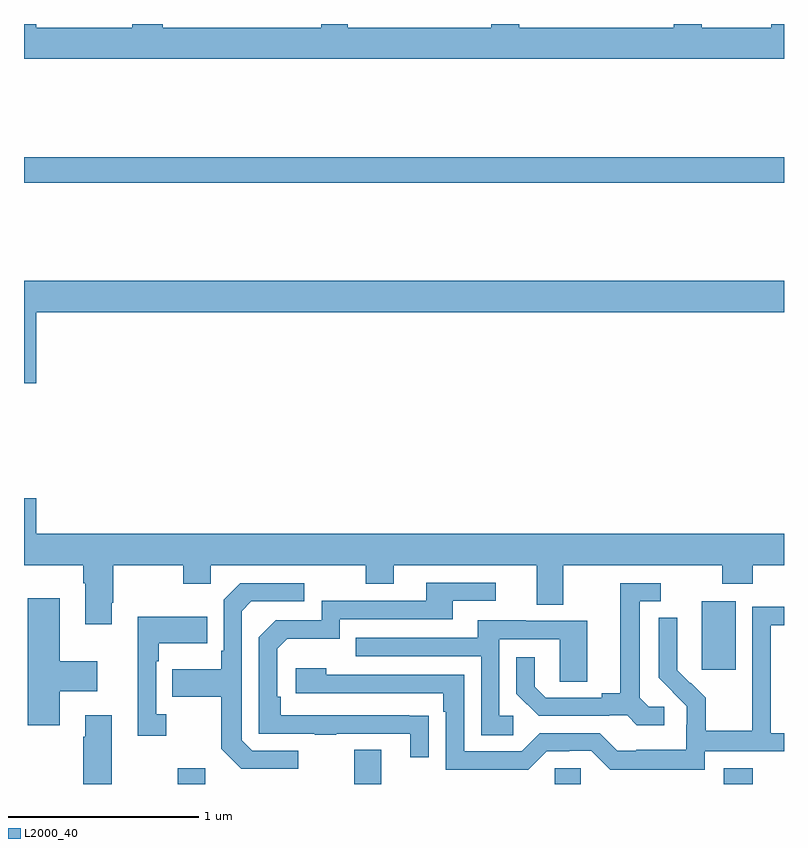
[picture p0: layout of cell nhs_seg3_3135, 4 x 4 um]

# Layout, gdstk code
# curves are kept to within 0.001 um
import gdstk
lib = gdstk.Library(unit=1e-6, precision=1e-09)
def R(c, l, rs):  # rectangles x0, y0, x1, y1
    for r in rs: c.add(gdstk.rectangle(r[:2], r[2:], *l))
def P(c, l, *ps):  # polygons
    for p in ps: c.add(gdstk.Polygon(p, *l))
L2000_40 = (2000, 40)

nhs_seg3_3135 = lib.new_cell('nhs_seg3_3135')
R(nhs_seg3_3135, L2000_40, [(273.808,730.4,273.955,730.483), (274.739,730.4,274.879,730.579), (275.793,730.4,275.931,730.482), (276.683,730.4,276.836,730.483), (276.566,731.001,276.745,731.362), (273,733.564,277,733.7)])
P(nhs_seg3_3135, L2000_40, [(277,734.4),(276.934,734.4),(276.934,734.38),(276.567,734.38),(276.567,734.4),(276.42,734.4),(276.42,734.38),(275.607,734.38),(275.607,734.4),(275.459,734.4),(275.459,734.38),(274.705,734.38),(274.705,734.4),(274.565,734.4),(274.565,734.38),(273.729,734.38),(273.729,734.4),(273.569,734.4),(273.569,734.38),(273.064,734.38),(273.064,734.4),(273,734.4),(273,734.216),(277,734.216)],
  [(273.064,732.884),(277,732.884),(277,733.048),(273,733.048),(273,732.51),(273.064,732.51)],
  [(273,731.905),(273,731.552),(273.311,731.552),(273.311,731.456),(273.323,731.456),(273.323,731.241),(273.463,731.241),(273.463,731.353),(273.471,731.353),(273.471,731.552),(273.838,731.552),(273.838,731.453),(273.984,731.453),(273.984,731.552),(274.798,731.552),(274.798,731.453),(274.945,731.453),(274.945,731.552),(275.699,731.552),(275.699,731.344),(275.839,731.344),(275.839,731.552),(276.676,731.552),(276.676,731.453),(276.836,731.453),(276.836,731.552),(277,731.552),(277,731.716),(273.064,731.716),(273.064,731.905)],
  [(275.129,730.76),(274.352,730.761),(274.352,730.858),(274.332,730.858),(274.332,731.112),(274.385,731.165),(274.662,731.165),(274.662,731.268),(275.257,731.268),(275.257,731.364),(275.482,731.364),(275.482,731.46),(275.117,731.46),(275.117,731.364),(274.566,731.364),(274.566,731.262),(274.326,731.262),(274.236,731.172),(274.236,730.665),(274.531,730.665),(274.531,730.66),(274.643,730.66),(274.643,730.665),(275.033,730.665),(275.033,730.542),(275.129,730.542)],
  [(276.37,730.806),(276.288,730.806),(276.241,730.853),(276.241,731.361),(276.352,731.361),(276.352,731.457),(276.137,731.457),(276.137,730.877),(276.041,730.877),(276.041,730.854),(275.746,730.854),(275.689,730.911),(275.689,731.068),(275.592,731.068),(275.592,730.874),(275.708,730.758),(276.08,730.758),(276.08,730.761),(276.174,730.761),(276.226,730.709),(276.37,730.709)],
  [(274.444,730.575),(274.2,730.575),(274.146,730.629),(274.146,731.31),(274.197,731.361),(274.474,731.361),(274.474,731.457),(274.137,731.457),(274.05,731.37),(274.05,731.101),(274.038,731.101),(274.038,731.005),(273.781,731.005),(273.781,730.858),(274.038,730.858),(274.038,730.585),(274.143,730.479),(274.444,730.479)],
  [(273.187,730.889),(273.385,730.889),(273.385,731.047),(273.187,731.047),(273.187,731.377),(273.02,731.377),(273.02,730.71),(273.187,730.71)],
  [(276.582,730.572),(277,730.572),(277,730.668),(276.93,730.668),(276.93,731.235),(277,731.235),(277,731.334),(276.834,731.334),(276.834,730.904),(276.832,730.904),(276.832,730.681),(276.587,730.681),(276.587,730.855),(276.51,730.932),(276.507,730.929),(276.437,731),(276.438,731.276),(276.342,731.276),(276.342,730.958),(276.488,730.81),(276.488,730.713),(276.486,730.713),(276.486,730.579),(276.223,730.579),(276.223,730.575),(276.123,730.575),(276.03,730.668),(275.715,730.668),(275.619,730.572),(275.316,730.572),(275.316,730.974),(274.592,730.974),(274.592,731.008),(274.431,731.008),(274.431,730.878),(275.207,730.878),(275.207,730.781),(275.22,730.781),(275.22,730.476),(275.655,730.476),(275.751,730.572),(275.87,730.572),(275.87,730.575),(275.985,730.575),(276.085,730.475),(276.582,730.475)],
  [(273.748,730.766),(273.696,730.766),(273.696,731.045),(273.709,731.045),(273.709,731.141),(273.965,731.141),(273.965,731.281),(273.599,731.281),(273.599,730.653),(273.748,730.653)],
  [(275.575,730.758),(275.502,730.758),(275.502,731.163),(275.82,731.163),(275.82,730.939),(275.965,730.939),(275.965,731.259),(275.641,731.259),(275.641,731.263),(275.387,731.263),(275.387,731.169),(274.747,731.169),(274.747,731.073),(275.406,731.073),(275.406,730.657),(275.575,730.657)],
  [(273.463,730.762),(273.323,730.762),(273.323,730.649),(273.311,730.649),(273.311,730.4),(273.463,730.4)])

lib.write_gds('nhs_seg3_3135.gds')
